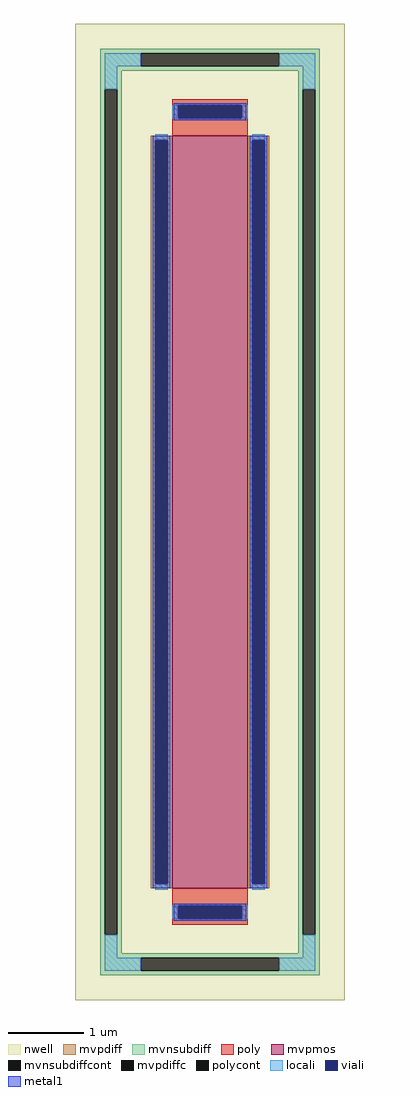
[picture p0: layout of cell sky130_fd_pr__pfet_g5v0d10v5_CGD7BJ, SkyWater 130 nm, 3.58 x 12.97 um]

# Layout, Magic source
magic
tech sky130A
magscale 1 2
<< nwell >>
rect -358 -1297 358 1297
<< mvpmos >>
rect -100 -1000 100 1000
<< mvpdiff >>
rect -158 988 -100 1000
rect -158 -988 -146 988
rect -112 -988 -100 988
rect -158 -1000 -100 -988
rect 100 988 158 1000
rect 100 -988 112 988
rect 146 -988 158 988
rect 100 -1000 158 -988
<< mvpdiffc >>
rect -146 -988 -112 988
rect 112 -988 146 988
<< mvnsubdiff >>
rect -292 1219 292 1231
rect -292 1185 -184 1219
rect 184 1185 292 1219
rect -292 1173 292 1185
rect -292 1123 -234 1173
rect -292 -1123 -280 1123
rect -246 -1123 -234 1123
rect 234 1123 292 1173
rect -292 -1173 -234 -1123
rect 234 -1123 246 1123
rect 280 -1123 292 1123
rect 234 -1173 292 -1123
rect -292 -1185 292 -1173
rect -292 -1219 -184 -1185
rect 184 -1219 292 -1185
rect -292 -1231 292 -1219
<< mvnsubdiffcont >>
rect -184 1185 184 1219
rect -280 -1123 -246 1123
rect 246 -1123 280 1123
rect -184 -1219 184 -1185
<< poly >>
rect -100 1081 100 1097
rect -100 1047 -84 1081
rect 84 1047 100 1081
rect -100 1000 100 1047
rect -100 -1047 100 -1000
rect -100 -1081 -84 -1047
rect 84 -1081 100 -1047
rect -100 -1097 100 -1081
<< polycont >>
rect -84 1047 84 1081
rect -84 -1081 84 -1047
<< locali >>
rect -280 1185 -184 1219
rect 184 1185 280 1219
rect -280 1123 -246 1185
rect 246 1123 280 1185
rect -100 1047 -84 1081
rect 84 1047 100 1081
rect -146 988 -112 1004
rect -146 -1004 -112 -988
rect 112 988 146 1004
rect 112 -1004 146 -988
rect -100 -1081 -84 -1047
rect 84 -1081 100 -1047
rect -280 -1185 -246 -1123
rect 246 -1185 280 -1123
rect -280 -1219 -184 -1185
rect 184 -1219 280 -1185
<< viali >>
rect -84 1047 84 1081
rect -146 -988 -112 988
rect 112 -988 146 988
rect -84 -1081 84 -1047
<< metal1 >>
rect -96 1081 96 1087
rect -96 1047 -84 1081
rect 84 1047 96 1081
rect -96 1041 96 1047
rect -152 988 -106 1000
rect -152 -988 -146 988
rect -112 -988 -106 988
rect -152 -1000 -106 -988
rect 106 988 152 1000
rect 106 -988 112 988
rect 146 -988 152 988
rect 106 -1000 152 -988
rect -96 -1047 96 -1041
rect -96 -1081 -84 -1047
rect 84 -1081 96 -1047
rect -96 -1087 96 -1081
<< properties >>
string FIXED_BBOX -263 -1202 263 1202
string gencell sky130_fd_pr__pfet_g5v0d10v5
string library sky130
string parameters w 10.0 l 1.0 m 1 nf 1 diffcov 100 polycov 100 guard 1 glc 1 grc 1 gtc 1 gbc 1 tbcov 100 rlcov 100 topc 1 botc 1 poverlap 0 doverlap 1 lmin 0.50 wmin 0.42 compatible {sky130_fd_pr__pfet_01v8  sky130_fd_pr__pfet_01v8_lvt sky130_fd_pr__pfet_01v8_hvt  sky130_fd_pr__pfet_g5v0d10v5} full_metal 1 viasrc 100 viadrn 100 viagate 100 viagb 0 viagr 0 viagl 0 viagt 0
<< end >>
